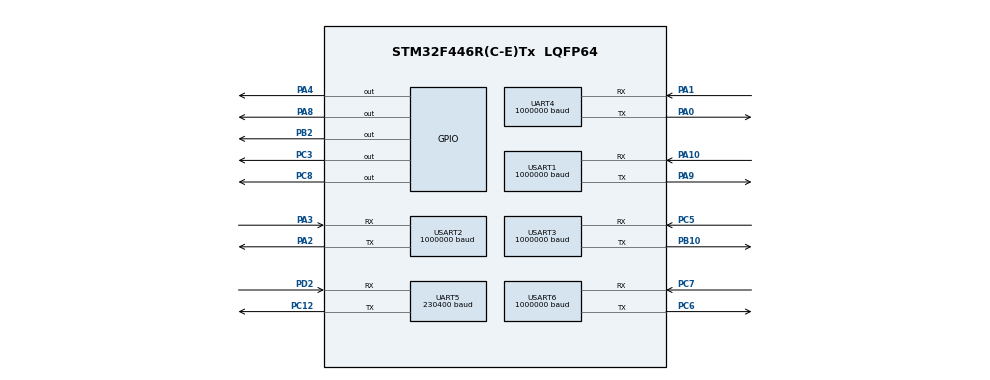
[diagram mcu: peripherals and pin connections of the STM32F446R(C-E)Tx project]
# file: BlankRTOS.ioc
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Dma.Request0=UART5_TX
Dma.Request1=UART5_RX
Dma.Request10=USART1_RX
Dma.Request11=USART1_TX
Dma.Request2=USART2_TX
Dma.Request3=USART2_RX
Dma.Request4=USART3_RX
Dma.Request5=USART3_TX
Dma.Request6=UART4_RX
Dma.Request7=UART4_TX
Dma.Request8=USART6_RX
Dma.Request9=USART6_TX
Dma.UART4_RX.6.Direction=DMA_PERIPH_TO_MEMORY
Dma.UART4_RX.6.FIFOMode=DMA_FIFOMODE_DISABLE
Dma.UART4_RX.6.Instance=DMA1_Stream2
Dma.UART4_RX.6.MemDataAlignment=DMA_MDATAALIGN_BYTE
Dma.UART4_RX.6.MemInc=DMA_MINC_ENABLE
Dma.UART4_RX.6.Mode=DMA_NORMAL
Dma.UART4_RX.6.PeriphDataAlignment=DMA_PDATAALIGN_BYTE
Dma.UART4_RX.6.PeriphInc=DMA_PINC_DISABLE
Dma.UART4_RX.6.Priority=DMA_PRIORITY_LOW
Dma.UART4_TX.7.Direction=DMA_MEMORY_TO_PERIPH
Dma.UART4_TX.7.FIFOMode=DMA_FIFOMODE_DISABLE
Dma.UART4_TX.7.Instance=DMA1_Stream4
Dma.UART4_TX.7.MemDataAlignment=DMA_MDATAALIGN_BYTE
Dma.UART4_TX.7.MemInc=DMA_MINC_ENABLE
Dma.UART4_TX.7.Mode=DMA_NORMAL
Dma.UART4_TX.7.PeriphDataAlignment=DMA_PDATAALIGN_BYTE
Dma.UART4_TX.7.PeriphInc=DMA_PINC_DISABLE
Dma.UART4_TX.7.Priority=DMA_PRIORITY_LOW
Dma.UART5_RX.1.Direction=DMA_PERIPH_TO_MEMORY
Dma.UART5_RX.1.FIFOMode=DMA_FIFOMODE_DISABLE
Dma.UART5_RX.1.Instance=DMA1_Stream0
Dma.UART5_RX.1.MemDataAlignment=DMA_MDATAALIGN_BYTE
Dma.UART5_RX.1.MemInc=DMA_MINC_ENABLE
Dma.UART5_RX.1.Mode=DMA_NORMAL
Dma.UART5_RX.1.PeriphDataAlignment=DMA_PDATAALIGN_BYTE
Dma.UART5_RX.1.PeriphInc=DMA_PINC_DISABLE
Dma.UART5_RX.1.Priority=DMA_PRIORITY_LOW
Dma.UART5_TX.0.Direction=DMA_MEMORY_TO_PERIPH
Dma.UART5_TX.0.FIFOMode=DMA_FIFOMODE_DISABLE
Dma.UART5_TX.0.Instance=DMA1_Stream7
Dma.UART5_TX.0.MemDataAlignment=DMA_MDATAALIGN_BYTE
Dma.UART5_TX.0.MemInc=DMA_MINC_ENABLE
Dma.UART5_TX.0.Mode=DMA_NORMAL
Dma.UART5_TX.0.PeriphDataAlignment=DMA_PDATAALIGN_BYTE
Dma.UART5_TX.0.PeriphInc=DMA_PINC_DISABLE
Dma.UART5_TX.0.Priority=DMA_PRIORITY_LOW
Dma.USART1_RX.10.Direction=DMA_PERIPH_TO_MEMORY
Dma.USART1_RX.10.FIFOMode=DMA_FIFOMODE_DISABLE
Dma.USART1_RX.10.Instance=DMA2_Stream2
Dma.USART1_RX.10.MemDataAlignment=DMA_MDATAALIGN_BYTE
Dma.USART1_RX.10.MemInc=DMA_MINC_ENABLE
Dma.USART1_RX.10.Mode=DMA_NORMAL
Dma.USART1_RX.10.PeriphDataAlignment=DMA_PDATAALIGN_BYTE
Dma.USART1_RX.10.PeriphInc=DMA_PINC_DISABLE
Dma.USART1_RX.10.Priority=DMA_PRIORITY_LOW
Dma.USART1_TX.11.Direction=DMA_MEMORY_TO_PERIPH
Dma.USART1_TX.11.FIFOMode=DMA_FIFOMODE_DISABLE
Dma.USART1_TX.11.Instance=DMA2_Stream7
Dma.USART1_TX.11.MemDataAlignment=DMA_MDATAALIGN_BYTE
Dma.USART1_TX.11.MemInc=DMA_MINC_ENABLE
Dma.USART1_TX.11.Mode=DMA_NORMAL
Dma.USART1_TX.11.PeriphDataAlignment=DMA_PDATAALIGN_BYTE
Dma.USART1_TX.11.PeriphInc=DMA_PINC_DISABLE
Dma.USART1_TX.11.Priority=DMA_PRIORITY_LOW
Dma.USART2_RX.3.Direction=DMA_PERIPH_TO_MEMORY
Dma.USART2_RX.3.FIFOMode=DMA_FIFOMODE_DISABLE
Dma.USART2_RX.3.Instance=DMA1_Stream5
Dma.USART2_RX.3.MemDataAlignment=DMA_MDATAALIGN_BYTE
Dma.USART2_RX.3.MemInc=DMA_MINC_ENABLE
Dma.USART2_RX.3.Mode=DMA_NORMAL
Dma.USART2_RX.3.PeriphDataAlignment=DMA_PDATAALIGN_BYTE
Dma.USART2_RX.3.PeriphInc=DMA_PINC_DISABLE
Dma.USART2_RX.3.Priority=DMA_PRIORITY_LOW
Dma.USART2_TX.2.Direction=DMA_MEMORY_TO_PERIPH
Dma.USART2_TX.2.FIFOMode=DMA_FIFOMODE_DISABLE
Dma.USART2_TX.2.Instance=DMA1_Stream6
Dma.USART2_TX.2.MemDataAlignment=DMA_MDATAALIGN_BYTE
Dma.USART2_TX.2.MemInc=DMA_MINC_ENABLE
Dma.USART2_TX.2.Mode=DMA_NORMAL
Dma.USART2_TX.2.PeriphDataAlignment=DMA_PDATAALIGN_BYTE
Dma.USART2_TX.2.PeriphInc=DMA_PINC_DISABLE
Dma.USART2_TX.2.Priority=DMA_PRIORITY_LOW
Dma.USART3_RX.4.Direction=DMA_PERIPH_TO_MEMORY
Dma.USART3_RX.4.FIFOMode=DMA_FIFOMODE_DISABLE
Dma.USART3_RX.4.Instance=DMA1_Stream1
Dma.USART3_RX.4.MemDataAlignment=DMA_MDATAALIGN_BYTE
Dma.USART3_RX.4.MemInc=DMA_MINC_ENABLE
Dma.USART3_RX.4.Mode=DMA_NORMAL
Dma.USART3_RX.4.PeriphDataAlignment=DMA_PDATAALIGN_BYTE
Dma.USART3_RX.4.PeriphInc=DMA_PINC_DISABLE
Dma.USART3_RX.4.Priority=DMA_PRIORITY_LOW
Dma.USART3_TX.5.Direction=DMA_MEMORY_TO_PERIPH
Dma.USART3_TX.5.FIFOMode=DMA_FIFOMODE_DISABLE
Dma.USART3_TX.5.Instance=DMA1_Stream3
Dma.USART3_TX.5.MemDataAlignment=DMA_MDATAALIGN_BYTE
Dma.USART3_TX.5.MemInc=DMA_MINC_ENABLE
Dma.USART3_TX.5.Mode=DMA_NORMAL
Dma.USART3_TX.5.PeriphDataAlignment=DMA_PDATAALIGN_BYTE
Dma.USART3_TX.5.PeriphInc=DMA_PINC_DISABLE
Dma.USART3_TX.5.Priority=DMA_PRIORITY_LOW
Dma.USART6_RX.8.Direction=DMA_PERIPH_TO_MEMORY
Dma.USART6_RX.8.FIFOMode=DMA_FIFOMODE_DISABLE
Dma.USART6_RX.8.Instance=DMA2_Stream1
Dma.USART6_RX.8.MemDataAlignment=DMA_MDATAALIGN_BYTE
Dma.USART6_RX.8.MemInc=DMA_MINC_ENABLE
Dma.USART6_RX.8.Mode=DMA_NORMAL
Dma.USART6_RX.8.PeriphDataAlignment=DMA_PDATAALIGN_BYTE
Dma.USART6_RX.8.PeriphInc=DMA_PINC_DISABLE
Dma.USART6_RX.8.Priority=DMA_PRIORITY_LOW
Dma.USART6_TX.9.Direction=DMA_MEMORY_TO_PERIPH
Dma.USART6_TX.9.FIFOMode=DMA_FIFOMODE_DISABLE
Dma.USART6_TX.9.Instance=DMA2_Stream6
Dma.USART6_TX.9.MemDataAlignment=DMA_MDATAALIGN_BYTE
Dma.USART6_TX.9.MemInc=DMA_MINC_ENABLE
Dma.USART6_TX.9.Mode=DMA_NORMAL
Dma.USART6_TX.9.PeriphDataAlignment=DMA_PDATAALIGN_BYTE
Dma.USART6_TX.9.PeriphInc=DMA_PINC_DISABLE
Dma.USART6_TX.9.Priority=DMA_PRIORITY_LOW
FREERTOS.MEMORY_ALLOCATION=2
FREERTOS.Queues01=UART1_req,20,UARTcmd,0,Static,UART1_reqBuffer,UART1_reqControlBlock;UART4_req,20,UARTcmd,0,Static,UART4_reqBuffer,UART4_reqControlBlock;UART6_req,20,UARTcmd,0,Static,UART6_reqBuffer,UART6_reqControlBlock
FREERTOS.Tasks01=defaultTask,-3,128,StartDefaultTask,Default,NULL,Static,defaultTaskBuffer,defaultTaskControlBlock;rx,3,128,StartRx,Default,NULL,Static,rxBuffer,rxControlBlock;tx,2,128,StartTx,Default,NULL,Static,txBuffer,txControlBlock;UART1_,0,128,StartUART1,Default,NULL,Static,UART1_Buffer,UART1_ControlBlock;UART6_,0,128,StartUART6,Default,NULL,Static,UART6_Buffer,UART6_ControlBlock;UART4_,0,128,StartUART4,Default,NULL,Static,UART4_Buffer,UART4_ControlBlock
Mcu.Family=STM32F4
Mcu.Name=STM32F446R(C-E)Tx
Mcu.Package=LQFP64
NVIC.DMA1_Stream0_IRQn=true\:5\:0\:false\:false\:true\:true\:false
NVIC.DMA1_Stream1_IRQn=true\:5\:0\:false\:false\:true\:true\:false
NVIC.DMA1_Stream2_IRQn=true\:5\:0\:false\:false\:true\:true\:false
NVIC.DMA1_Stream3_IRQn=true\:5\:0\:false\:false\:true\:true\:false
NVIC.DMA1_Stream4_IRQn=true\:5\:0\:false\:false\:true\:true\:false
NVIC.DMA1_Stream5_IRQn=true\:5\:0\:false\:false\:true\:true\:false
NVIC.DMA1_Stream6_IRQn=true\:5\:0\:false\:false\:true\:true\:false
NVIC.DMA1_Stream7_IRQn=true\:5\:0\:false\:false\:true\:true\:false
NVIC.DMA2_Stream1_IRQn=true\:5\:0\:false\:false\:true\:true\:false
NVIC.DMA2_Stream2_IRQn=true\:5\:0\:false\:false\:true\:true\:false
NVIC.DMA2_Stream6_IRQn=true\:5\:0\:false\:false\:true\:true\:false
NVIC.DMA2_Stream7_IRQn=true\:5\:0\:false\:false\:true\:true\:false
NVIC.PriorityGroup=NVIC_PRIORITYGROUP_4
NVIC.TIM1_UP_TIM10_IRQn=true\:0\:0\:false\:false\:true\:false\:false
NVIC.TimeBase=TIM1_UP_TIM10_IRQn
NVIC.TimeBaseIP=TIM1
NVIC.UART4_IRQn=true\:5\:0\:false\:false\:true\:true\:true
NVIC.UART5_IRQn=true\:5\:0\:false\:false\:true\:true\:true
NVIC.USART1_IRQn=true\:5\:0\:false\:false\:true\:true\:true
NVIC.USART2_IRQn=true\:5\:0\:false\:false\:true\:true\:true
NVIC.USART3_IRQn=true\:5\:0\:false\:false\:true\:true\:true
NVIC.USART6_IRQn=true\:5\:0\:false\:false\:true\:true\:true
PA0-WKUP.Mode=Asynchronous
PA0-WKUP.Signal=UART4_TX
PA1.Mode=Asynchronous
PA1.Signal=UART4_RX
PA10.Mode=Asynchronous
PA10.Signal=USART1_RX
PA2.Mode=Asynchronous
PA2.Signal=USART2_TX
PA3.Mode=Asynchronous
PA3.Signal=USART2_RX
PA4.GPIO_Speed=GPIO_SPEED_FREQ_VERY_HIGH
PA4.Signal=GPIO_Output
PA8.GPIO_Speed=GPIO_SPEED_FREQ_VERY_HIGH
PA8.Signal=GPIO_Output
PA9.Mode=Asynchronous
PA9.Signal=USART1_TX
PB10.Mode=Asynchronous
PB10.Signal=USART3_TX
PB2.GPIO_Speed=GPIO_SPEED_FREQ_VERY_HIGH
PB2.Signal=GPIO_Output
PC12.Mode=Asynchronous
PC12.Signal=UART5_TX
PC3.GPIO_Speed=GPIO_SPEED_FREQ_VERY_HIGH
PC3.Signal=GPIO_Output
PC5.Mode=Asynchronous
PC5.Signal=USART3_RX
PC6.Mode=Asynchronous
PC6.Signal=USART6_TX
PC7.Mode=Asynchronous
PC7.Signal=USART6_RX
PC8.GPIO_Speed=GPIO_SPEED_FREQ_VERY_HIGH
PC8.Signal=GPIO_Output
PD2.Mode=Asynchronous
PD2.Signal=UART5_RX
ProjectManager.HeapSize=0x200
ProjectManager.StackSize=0x400
ProjectManager.TargetToolchain=SW4STM32
RCC.CortexFreq_Value=16000000
RCC.USBFreq_Value=96000000
RCC.VCOOutputFreq_Value=192000000
UART4.BaudRate=1000000
UART4.VirtualMode=Asynchronous
UART5.BaudRate=230400
UART5.VirtualMode=Asynchronous
USART1.BaudRate=1000000
USART1.VirtualMode=VM_ASYNC
USART2.BaudRate=1000000
USART2.VirtualMode=VM_ASYNC
USART3.BaudRate=1000000
USART3.VirtualMode=VM_ASYNC
USART6.BaudRate=1000000
USART6.VirtualMode=VM_ASYNC
VP_FREERTOS_VS_ENABLE.Mode=Enabled
VP_SYS_VS_tim1.Mode=TIM1
board=BlankRTOS

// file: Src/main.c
/**
  ******************************************************************************
  * @file           : main.c
  * @brief          : Main program body
  ******************************************************************************
  * This notice applies to any and all portions of this file
  * that are not between comment pairs USER CODE BEGIN and
  * USER CODE END. Other portions of this file, whether
  * inserted by the user or by software development tools
  * are owned by their respective copyright owners.
  *
  * Copyright (c) 2018 STMicroelectronics International N.V.
  * All rights reserved.
  *
  * Redistribution and use in source and binary forms, with or without
  * modification, are permitted, provided that the following conditions are met:
  *
  * 1. Redistribution of source code must retain the above copyright notice,
  *    this list of conditions and the following disclaimer.
  * 2. Redistributions in binary form must reproduce the above copyright notice,
  *    this list of conditions and the following disclaimer in the documentation
  *    and/or other materials provided with the distribution.
  * 3. Neither the name of STMicroelectronics nor the names of other
  *    contributors to this software may be used to endorse or promote products
  *    derived from this software without specific written permission.
  * 4. This software, including modifications and/or derivative works of this
  *    software, must execute solely and exclusively on microcontroller or
  *    microprocessor devices manufactured by or for STMicroelectronics.
  * 5. Redistribution and use of this software other than as permitted under
  *    this license is void and will automatically terminate your rights under
  *    this license.
  *
  * THIS SOFTWARE IS PROVIDED BY STMICROELECTRONICS AND CONTRIBUTORS "AS IS"
  * AND ANY EXPRESS, IMPLIED OR STATUTORY WARRANTIES, INCLUDING, BUT NOT
  * LIMITED TO, THE IMPLIED WARRANTIES OF MERCHANTABILITY, FITNESS FOR A
  * PARTICULAR PURPOSE AND NON-INFRINGEMENT OF THIRD PARTY INTELLECTUAL PROPERTY
  * RIGHTS ARE DISCLAIMED TO THE FULLEST EXTENT PERMITTED BY LAW. IN NO EVENT
  * SHALL STMICROELECTRONICS OR CONTRIBUTORS BE LIABLE FOR ANY DIRECT, INDIRECT,
  * INCIDENTAL, SPECIAL, EXEMPLARY, OR CONSEQUENTIAL DAMAGES (INCLUDING, BUT NOT
  * LIMITED TO, PROCUREMENT OF SUBSTITUTE GOODS OR SERVICES; LOSS OF USE, DATA,
  * OR PROFITS; OR BUSINESS INTERRUPTION) HOWEVER CAUSED AND ON ANY THEORY OF
  * LIABILITY, WHETHER IN CONTRACT, STRICT LIABILITY, OR TORT (INCLUDING
  * NEGLIGENCE OR OTHERWISE) ARISING IN ANY WAY OUT OF THE USE OF THIS SOFTWARE,
  * EVEN IF ADVISED OF THE POSSIBILITY OF SUCH DAMAGE.
  *
  ******************************************************************************
  */
#include "main.h"
#include "stm32f4xx_hal.h"
#include "cmsis_os.h"
#include "dma.h"
#include "usart.h"
#include "gpio.h"

/* USER CODE BEGIN Includes */
#include "../Drivers/Dynamixel/DynamixelProtocolV1.h"
/* USER CODE END Includes */

/* USER CODE BEGIN PV */
/* Private variables ---------------------------------------------------------*/

/* USER CODE END PV */

void SystemClock_Config(void);
void MX_FREERTOS_Init(void);

/* USER CODE BEGIN PFP */
/* Private function prototypes -----------------------------------------------*/
void flinch(Dynamixel_HandleTypeDef* Motor, float pos1, float pos2);
/* USER CODE END PFP */

int main(void)
{

  /* MCU Configuration----------------------------------------------------------*/

  /* Reset of all peripherals, Initializes the Flash interface and the Systick. */
  HAL_Init();

  /* Configure the system clock */
  SystemClock_Config();

  /* Initialize all configured peripherals */
  MX_GPIO_Init();
  MX_DMA_Init();
  MX_UART5_Init();
  MX_USART2_UART_Init();
  MX_UART4_Init();
  MX_USART1_UART_Init();
  MX_USART3_UART_Init();
  MX_USART6_UART_Init();
  /* USER CODE BEGIN 2 */

/* ASCII CIRCUIT     _
 *  o   ------     3|_|D     LU
 *           ___             LD
 *   ||     |mcu|   o  ||    HH
 * ____     |___|      ||    RU
 *   o  ===   ===   ===      RD
 */
  Dynamixel_HandleTypeDef Motor;
//
//  // LU - UART1
//  Dynamixel_Init(&Motor, BROADCAST_ID, &huart1, GPIOA, GPIO_PIN_8, AX12ATYPE);
//  //Dynamixel_SetID(&Motor, 4);
//  HAL_Delay(100);
//  flinch(&Motor);
//
//  // LD - UART6
//  Dynamixel_Init(&Motor, BROADCAST_ID, &huart6, GPIOC, GPIO_PIN_8, AX12ATYPE);
//  //Dynamixel_SetID(&Motor, 1);
//  flinch(&Motor);
//
//  // HH - USART3
//  Dynamixel_Init(&Motor, BROADCAST_ID, &huart3, GPIOB, GPIO_PIN_2, AX12ATYPE);
//  //Dynamixel_SetID(&Motor, 18);
//  flinch(&Motor);
//
//  // RU - UART4
//  Dynamixel_Init(&Motor, BROADCAST_ID, &huart4, GPIOC, GPIO_PIN_3, MX28TYPE);
//  //Dynamixel_SetID(&Motor, 7);
//  Dynamixel_TorqueEnable(&Motor, 1);
//  flinch(&Motor);
//
//  // RD - UART2
//  Dynamixel_Init(&Motor, BROADCAST_ID, &huart2, GPIOA, GPIO_PIN_4, AX12ATYPE);
//  //Dynamixel_SetID(&Motor, 10);
//  flinch(&Motor);

  	// Call this with the appropriate arguments above, depending on which UART
    // the motor is connected to
    Dynamixel_Init(&Motor, BROADCAST_ID, &huart2, GPIOA, GPIO_PIN_4, MX28TYPE);
    uint8_t ID = 7;
    //Dynamixel_SetID(&Motor, 10); // Uncomment this if you have not set the ID
    Dynamixel_Init(&Motor, ID, &huart2, GPIOA, GPIO_PIN_4, MX28TYPE);

    uint8_t DGain = 2;
    uint8_t IGain = 2;
    uint8_t PGain = 2;
    MX28_SetDGain(&Motor, DGain);
    MX28_SetIGain(&Motor, DGain);
    MX28_SetPGain(&Motor, DGain);

    // Flinch moves the motors between 2 positions
    float pos1 = 150.0;
    float pos2 = 220.0;
    flinch(&Motor, pos1, pos2);
//  while(1);
  /* USER CODE END 2 */

  /* Call init function for freertos objects (in freertos.c) */
  MX_FREERTOS_Init();

  /* Start scheduler */
  osKernelStart();

  /* We should never get here as control is now taken by the scheduler */

  /* Infinite loop */
	while (1) {

	}

}

void SystemClock_Config(void)
{

  RCC_OscInitTypeDef RCC_OscInitStruct;
  RCC_ClkInitTypeDef RCC_ClkInitStruct;

    /**Configure the main internal regulator output voltage
    */
  __HAL_RCC_PWR_CLK_ENABLE();

  __HAL_PWR_VOLTAGESCALING_CONFIG(PWR_REGULATOR_VOLTAGE_SCALE3);

    /**Initializes the CPU, AHB and APB busses clocks
    */
  RCC_OscInitStruct.OscillatorType = RCC_OSCILLATORTYPE_HSI;
  RCC_OscInitStruct.HSIState = RCC_HSI_ON;
  RCC_OscInitStruct.HSICalibrationValue = 16;
  RCC_OscInitStruct.PLL.PLLState = RCC_PLL_NONE;
  if (HAL_RCC_OscConfig(&RCC_OscInitStruct) != HAL_OK)
  {
    _Error_Handler(__FILE__, __LINE__);
  }

    /**Initializes the CPU, AHB and APB busses clocks
    */
  RCC_ClkInitStruct.ClockType = RCC_CLOCKTYPE_HCLK|RCC_CLOCKTYPE_SYSCLK
                              |RCC_CLOCKTYPE_PCLK1|RCC_CLOCKTYPE_PCLK2;
  RCC_ClkInitStruct.SYSCLKSource = RCC_SYSCLKSOURCE_HSI;
  RCC_ClkInitStruct.AHBCLKDivider = RCC_SYSCLK_DIV1;
  RCC_ClkInitStruct.APB1CLKDivider = RCC_HCLK_DIV1;
  RCC_ClkInitStruct.APB2CLKDivider = RCC_HCLK_DIV1;

  if (HAL_RCC_ClockConfig(&RCC_ClkInitStruct, FLASH_LATENCY_0) != HAL_OK)
  {
    _Error_Handler(__FILE__, __LINE__);
  }

    /**Configure the Systick interrupt time
    */
  HAL_SYSTICK_Config(HAL_RCC_GetHCLKFreq()/1000);

    /**Configure the Systick
    */
  HAL_SYSTICK_CLKSourceConfig(SYSTICK_CLKSOURCE_HCLK);

  /* SysTick_IRQn interrupt configuration */
  HAL_NVIC_SetPriority(SysTick_IRQn, 15, 0);
}

/* USER CODE BEGIN 4 */
void flinch(Dynamixel_HandleTypeDef* Motor, float pos1, float pos2){
	  HAL_Delay(100);
	  Dynamixel_SetGoalPosition(Motor, pos1);
	  HAL_Delay(500);
	  Dynamixel_SetGoalPosition(Motor, pos2);
	  HAL_Delay(1000);
}
/* USER CODE END 4 */

void HAL_TIM_PeriodElapsedCallback(TIM_HandleTypeDef *htim)
{
  if (htim->Instance == TIM1) {
    HAL_IncTick();
  }
}

void _Error_Handler(char *file, int line)
{
	while (1) {
	}
}

/************************ (C) COPYRIGHT STMicroelectronics *****END OF FILE****/

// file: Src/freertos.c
/**
  ******************************************************************************
  * File Name          : freertos.c
  * Description        : Code for freertos applications
  ******************************************************************************
  * This notice applies to any and all portions of this file
  * that are not between comment pairs USER CODE BEGIN and
  * USER CODE END. Other portions of this file, whether
  * inserted by the user or by software development tools
  * are owned by their respective copyright owners.
  *
  * Copyright (c) 2018 STMicroelectronics International N.V.
  * All rights reserved.
  *
  * Redistribution and use in source and binary forms, with or without
  * modification, are permitted, provided that the following conditions are met:
  *
  * 1. Redistribution of source code must retain the above copyright notice,
  *    this list of conditions and the following disclaimer.
  * 2. Redistributions in binary form must reproduce the above copyright notice,
  *    this list of conditions and the following disclaimer in the documentation
  *    and/or other materials provided with the distribution.
  * 3. Neither the name of STMicroelectronics nor the names of other
  *    contributors to this software may be used to endorse or promote products
  *    derived from this software without specific written permission.
  * 4. This software, including modifications and/or derivative works of this
  *    software, must execute solely and exclusively on microcontroller or
  *    microprocessor devices manufactured by or for STMicroelectronics.
  * 5. Redistribution and use of this software other than as permitted under
  *    this license is void and will automatically terminate your rights under
  *    this license.
  *
  * THIS SOFTWARE IS PROVIDED BY STMICROELECTRONICS AND CONTRIBUTORS "AS IS"
  * AND ANY EXPRESS, IMPLIED OR STATUTORY WARRANTIES, INCLUDING, BUT NOT
  * LIMITED TO, THE IMPLIED WARRANTIES OF MERCHANTABILITY, FITNESS FOR A
  * PARTICULAR PURPOSE AND NON-INFRINGEMENT OF THIRD PARTY INTELLECTUAL PROPERTY
  * RIGHTS ARE DISCLAIMED TO THE FULLEST EXTENT PERMITTED BY LAW. IN NO EVENT
  * SHALL STMICROELECTRONICS OR CONTRIBUTORS BE LIABLE FOR ANY DIRECT, INDIRECT,
  * INCIDENTAL, SPECIAL, EXEMPLARY, OR CONSEQUENTIAL DAMAGES (INCLUDING, BUT NOT
  * LIMITED TO, PROCUREMENT OF SUBSTITUTE GOODS OR SERVICES; LOSS OF USE, DATA,
  * OR PROFITS; OR BUSINESS INTERRUPTION) HOWEVER CAUSED AND ON ANY THEORY OF
  * LIABILITY, WHETHER IN CONTRACT, STRICT LIABILITY, OR TORT (INCLUDING
  * NEGLIGENCE OR OTHERWISE) ARISING IN ANY WAY OUT OF THE USE OF THIS SOFTWARE,
  * EVEN IF ADVISED OF THE POSSIBILITY OF SUCH DAMAGE.
  *
  ******************************************************************************
  */

#include "FreeRTOS.h"
#include "task.h"
#include "cmsis_os.h"

/* USER CODE BEGIN Includes */
#include <robotGoal.h>
#include <robotState.h>
#include <stdint.h>
#include "serial.h"
#include "string.h"
#include "UART_Handler.h"
#include "../Drivers/Dynamixel/DynamixelProtocolV1.h"
/* USER CODE END Includes */

osThreadId defaultTaskHandle;
uint32_t defaultTaskBuffer[ 128 ];
osStaticThreadDef_t defaultTaskControlBlock;
osThreadId rxHandle;
uint32_t rxBuffer[ 128 ];
osStaticThreadDef_t rxControlBlock;
osThreadId txHandle;
uint32_t txBuffer[ 128 ];
osStaticThreadDef_t txControlBlock;
osThreadId UART1_Handle;
uint32_t UART1_Buffer[ 128 ];
osStaticThreadDef_t UART1_ControlBlock;
osThreadId UART6_Handle;
uint32_t UART6_Buffer[ 128 ];
osStaticThreadDef_t UART6_ControlBlock;
osThreadId UART4_Handle;
uint32_t UART4_Buffer[ 128 ];
osStaticThreadDef_t UART4_ControlBlock;
osMessageQId UART1_reqHandle;
uint8_t UART1_reqBuffer[ 20 * sizeof( UARTcmd ) ];
osStaticMessageQDef_t UART1_reqControlBlock;
osMessageQId UART4_reqHandle;
uint8_t UART4_reqBuffer[ 20 * sizeof( UARTcmd ) ];
osStaticMessageQDef_t UART4_reqControlBlock;
osMessageQId UART6_reqHandle;
uint8_t UART6_reqBuffer[ 20 * sizeof( UARTcmd ) ];
osStaticMessageQDef_t UART6_reqControlBlock;

/* USER CODE BEGIN Variables */
volatile RobotGoal robotGoal, *robotGoalPtr;
volatile unsigned char robotGoalData[sizeof(RobotGoal)];
volatile unsigned char *robotGoalDataPtr;

volatile unsigned startSeqCount;
volatile unsigned totalBytesRead;

volatile RobotState robotState, *robotStatePtr;

#define __DYNAMIXEL_TRANSMIT(port, pinNum) HAL_GPIO_WritePin(port, pinNum, 1) // Set data direction pin high (TX)
#define __DYNAMIXEL_RECEIVE(port, pinNum) HAL_GPIO_WritePin(port, pinNum, 0) // Set data direction pin low (RX)

volatile uint8_t buffRx[92];

enum motorNames {MOTOR1, MOTOR2, MOTOR3, MOTOR4, MOTOR5,
				 MOTOR6, MOTOR7, MOTOR8, MOTOR9, MOTOR10,
				 MOTOR11, MOTOR12, MOTOR13, MOTOR14, MOTOR15,
				 MOTOR16, MOTOR17, MOTOR18
};

Dynamixel_HandleTypeDef Motor1,Motor2,Motor3,Motor4,Motor5,Motor6,Motor7,Motor8,Motor9,Motor10,Motor11,Motor12,Motor13,Motor14,Motor15,Motor16,Motor17,Motor18;
const double PI = 3.141592654;
volatile UARTcmd Motorcmd[18];
/* USER CODE END Variables */

void StartDefaultTask(void const * argument);
void StartRx(void const * argument);
void StartTx(void const * argument);
void StartUART1(void const * argument);
void StartUART6(void const * argument);
void StartUART4(void const * argument);

void MX_FREERTOS_Init(void); /* (MISRA C 2004 rule 8.1) */

/* GetIdleTaskMemory prototype (linked to static allocation support) */
void vApplicationGetIdleTaskMemory( StaticTask_t **ppxIdleTaskTCBBuffer, StackType_t **ppxIdleTaskStackBuffer, uint32_t *pulIdleTaskStackSize );

/* Hook prototypes */

/* USER CODE BEGIN GET_IDLE_TASK_MEMORY */
static StaticTask_t xIdleTaskTCBBuffer;
static StackType_t xIdleStack[configMINIMAL_STACK_SIZE];

void vApplicationGetIdleTaskMemory( StaticTask_t **ppxIdleTaskTCBBuffer, StackType_t **ppxIdleTaskStackBuffer, uint32_t *pulIdleTaskStackSize )
{
  *ppxIdleTaskTCBBuffer = &xIdleTaskTCBBuffer;
  *ppxIdleTaskStackBuffer = &xIdleStack[0];
  *pulIdleTaskStackSize = configMINIMAL_STACK_SIZE;
  /* place for user code */
}
/* USER CODE END GET_IDLE_TASK_MEMORY */

/* Init FreeRTOS */

void MX_FREERTOS_Init(void) {
  /* USER CODE BEGIN Init */
  	__DYNAMIXEL_RECEIVE(GPIOA, GPIO_PIN_4);

	// Receiving
	robotGoal.id = 0;
	robotGoalPtr = &robotGoal;
	robotGoalDataPtr = robotGoalData;
	startSeqCount = 0;
	totalBytesRead = 0;

	// Sending
	robotState.id = 0;
	robotStatePtr = &robotState;
	robotState.start_seq = UINT32_MAX;
	robotState.end_seq = 0;
  /* USER CODE END Init */

  /* Create the thread(s) */
  /* definition and creation of defaultTask */
  osThreadStaticDef(defaultTask, StartDefaultTask, osPriorityIdle, 0, 128, defaultTaskBuffer, &defaultTaskControlBlock);
  defaultTaskHandle = osThreadCreate(osThread(defaultTask), NULL);

  /* definition and creation of rx */
  osThreadStaticDef(rx, StartRx, osPriorityRealtime, 0, 128, rxBuffer, &rxControlBlock);
  rxHandle = osThreadCreate(osThread(rx), NULL);

  /* definition and creation of tx */
  osThreadStaticDef(tx, StartTx, osPriorityHigh, 0, 128, txBuffer, &txControlBlock);
  txHandle = osThreadCreate(osThread(tx), NULL);

  /* definition and creation of UART1_ */
  osThreadStaticDef(UART1_, StartUART1, osPriorityNormal, 0, 128, UART1_Buffer, &UART1_ControlBlock);
  UART1_Handle = osThreadCreate(osThread(UART1_), NULL);

  /* definition and creation of UART6_ */
  osThreadStaticDef(UART6_, StartUART6, osPriorityNormal, 0, 128, UART6_Buffer, &UART6_ControlBlock);
  UART6_Handle = osThreadCreate(osThread(UART6_), NULL);

  /* definition and creation of UART4_ */
  osThreadStaticDef(UART4_, StartUART4, osPriorityNormal, 0, 128, UART4_Buffer, &UART4_ControlBlock);
  UART4_Handle = osThreadCreate(osThread(UART4_), NULL);

  /* Create the queue(s) */
  /* definition and creation of UART1_req */
  osMessageQStaticDef(UART1_req, 20, UARTcmd, UART1_reqBuffer, &UART1_reqControlBlock);
  UART1_reqHandle = osMessageCreate(osMessageQ(UART1_req), NULL);

  /* definition and creation of UART4_req */
  osMessageQStaticDef(UART4_req, 20, UARTcmd, UART4_reqBuffer, &UART4_reqControlBlock);
  UART4_reqHandle = osMessageCreate(osMessageQ(UART4_req), NULL);

  /* definition and creation of UART6_req */
  osMessageQStaticDef(UART6_req, 20, UARTcmd, UART6_reqBuffer, &UART6_reqControlBlock);
  UART6_reqHandle = osMessageCreate(osMessageQ(UART6_req), NULL);

}

/* StartDefaultTask function */
void StartDefaultTask(void const * argument)
{

  /* USER CODE BEGIN StartDefaultTask */
	Dynamixel_Init(&Motor1, 1, &huart6, GPIOC, GPIO_PIN_8, AX12ATYPE);
	Dynamixel_Init(&Motor2, 2, &huart6, GPIOC, GPIO_PIN_8, AX12ATYPE);
	Dynamixel_Init(&Motor3, 3, &huart6, GPIOC, GPIO_PIN_8, AX12ATYPE);
	Dynamixel_Init(&Motor4, 4, &huart1, GPIOA, GPIO_PIN_8, AX12ATYPE);
	Dynamixel_Init(&Motor5, 5, &huart1, GPIOA, GPIO_PIN_8, AX12ATYPE);
	Dynamixel_Init(&Motor6, 6, &huart1, GPIOA, GPIO_PIN_8, AX12ATYPE);
	Dynamixel_Init(&Motor7, 7, &huart4, GPIOC, GPIO_PIN_3, MX28TYPE);
	Dynamixel_Init(&Motor8, 8, &huart4, GPIOC, GPIO_PIN_3, AX12ATYPE);
	Dynamixel_Init(&Motor9, 9, &huart4, GPIOC, GPIO_PIN_3, AX12ATYPE);
	Dynamixel_Init(&Motor10, 10, &huart2, GPIOA, GPIO_PIN_4, AX12ATYPE);
	Dynamixel_Init(&Motor11, 11, &huart2, GPIOA, GPIO_PIN_4, AX12ATYPE);
	Dynamixel_Init(&Motor12, 12, &huart2, GPIOA, GPIO_PIN_4, AX12ATYPE);
	Dynamixel_Init(&Motor13, 13, &huart3, GPIOB, GPIO_PIN_2, AX12ATYPE);
	Dynamixel_Init(&Motor14, 14, &huart3, GPIOB, GPIO_PIN_2, AX12ATYPE);
	Dynamixel_Init(&Motor15, 15, &huart3, GPIOB, GPIO_PIN_2, AX12ATYPE);
	Dynamixel_Init(&Motor16, 16, &huart3, GPIOB, GPIO_PIN_2, AX12ATYPE);
	Dynamixel_Init(&Motor17, 17, &huart3, GPIOB, GPIO_PIN_2, AX12ATYPE);
	Dynamixel_Init(&Motor18, 18, &huart3, GPIOB, GPIO_PIN_2, AX12ATYPE);

	Dynamixel_HandleTypeDef* arrDynamixel[18] = {&Motor1,&Motor2,&Motor3,&Motor4,
			&Motor5,&Motor6,&Motor7,&Motor8,&Motor9,&Motor10,&Motor11,&Motor12,
			&Motor13,&Motor14,&Motor15,&Motor16,&Motor17,&Motor18};

	for(uint8_t i = MOTOR1; i < MOTOR18; i++) {
        // Configure motor to return status packets only for read commands
        Dynamixel_SetStatusReturnLevel(arrDynamixel[i], 1);
        osDelay(10);

        // Configure motor to return status packets with minimal latency
        Dynamixel_SetReturnDelayTime(arrDynamixel[i], 2);
        osDelay(10);

        // Enable motor torque
        Dynamixel_TorqueEnable(arrDynamixel[i], 1);
        osDelay(10);

        // Set compliance slope such that it has torque setting 7 near the goal position
		AX12A_SetComplianceSlope(arrDynamixel[i], 7);
		osDelay(10);

		(Motorcmd[i]).motorHandle = arrDynamixel[i];
		(Motorcmd[i]).type = cmdWRITE;
		(Motorcmd[i]).velocity = 10;
	}

	(Motorcmd[0]).qHandle = UART6_reqHandle;
	(Motorcmd[1]).qHandle = UART6_reqHandle;
	(Motorcmd[2]).qHandle = UART6_reqHandle;
	(Motorcmd[3]).qHandle = UART1_reqHandle;
	(Motorcmd[4]).qHandle = UART1_reqHandle;
	(Motorcmd[5]).qHandle = UART1_reqHandle;
	(Motorcmd[6]).qHandle = UART4_reqHandle;
	(Motorcmd[7]).qHandle = UART4_reqHandle;
	(Motorcmd[8]).qHandle = UART4_reqHandle;
//	(Motorcmd[9]).qHandle = UART2_reqHandle;
//	(Motorcmd[10]).qHandle = UART2_reqHandle;
//	(Motorcmd[11]).qHandle = UART2_reqHandle;
//	(Motorcmd[12]).qHandle = UART3_reqHandle;
//	(Motorcmd[13]).qHandle = UART3_reqHandle;
//	(Motorcmd[14]).qHandle = UART3_reqHandle;
//	(Motorcmd[15]).qHandle = UART3_reqHandle;
//	(Motorcmd[16]).qHandle = UART3_reqHandle;
//	(Motorcmd[17]).qHandle = UART3_reqHandle;

  uint32_t notification = 0;
  /* Infinite loop */
  float positions[12];
  for(;;)
  {
	  // This simulates waiting on new trajectories to be received
      do{
          xTaskNotifyWait(0, 0x40, &notification, portMAX_DELAY);
      }while((notification & 0x40) != 0x40);

      // acquiring new present positions
		for(uint8_t i = 0; i < 12; i++){
			uint8_t* ptr = &positions[i];
			for(uint8_t j = 0; j < 4; j++){
				*ptr = robotGoal.msg[i * 4 + j];
				ptr++;
			}
		}

		for(uint8_t i = MOTOR1; i <= MOTOR12; i++){ // NB: i begins at 0 (i.e. Motor1 corresponds to i = 0)
			switch(i){
			    case MOTOR1: (Motorcmd[i]).position = -1*positions[i]*180/PI + 150 - 1;
			  				 break;
			    case MOTOR2: (Motorcmd[i]).position = -1*positions[i]*180/PI + 150 + 3 + 55;
			  				 break;
			    case MOTOR3: (Motorcmd[i]).position = -1*positions[i]*180/PI + 150 + 1;
			  				 break;
			    case MOTOR4: (Motorcmd[i]).position = positions[i]*180/PI + 150 + 2;
			  				 break;
			    case MOTOR5: (Motorcmd[i]).position = positions[i]*180/PI + 150 - 0;
			  				 break;
			    case MOTOR6: (Motorcmd[i]).position = -1*positions[i]*180/PI + 150 + 0;
			  				 break;
			    case MOTOR7: (Motorcmd[i]).position = positions[i]*180/PI + 150 + 0;
			  				 break;
			    case MOTOR8: (Motorcmd[i]).position = positions[i]*180/PI + 150 - 3;
			  				 break;
			    case MOTOR9: (Motorcmd[i]).position = -1*positions[i]*180/PI + 150 - 0;
			  				 break;
			    case MOTOR10: (Motorcmd[i]).position = positions[i]*180/PI + 150 + 4;
			  				 break;
			    case MOTOR11: (Motorcmd[i]).position = positions[i]*180/PI + 150 + 1;
			  				 break;
			    case MOTOR12: (Motorcmd[i]).position = -1*positions[i]*180/PI + 150 + 3;
							 break;
            }
			if(i == MOTOR1 || i == MOTOR4 || i == MOTOR7){
				xQueueSend(Motorcmd[i].qHandle, &Motorcmd[i], 0);
			}
        }
//		Dynamixel_GetPosition(&Motor9);
//		for(uint8_t i = MOTOR1; i < MOTOR12; i++){
//			strcpy(&robotState.msg[i * 4], &(arrDynamixel[i]->_lastPosition));
//		}

		// This simulates getting positions
	    memcpy(robotState.msg, robotGoal.msg, sizeof(robotGoal.msg));

	  // This simulates telling the TX task there is data to send
	  xTaskNotify(txHandle, 0x40, eSetBits);
  }
  /* USER CODE END StartDefaultTask */
}

/* StartRx function */
void StartRx(void const * argument)
{
  /* USER CODE BEGIN StartRx */
	uint32_t notification;

	HAL_UART_Receive_DMA(&huart5, buffRx, sizeof(buffRx));
  /* Infinite loop */
  for(;;)
  {
		do{
			xTaskNotifyWait(0, 0x80, &notification, portMAX_DELAY);
		}while((notification & 0x80) != 0x80);

		HAL_UART_Receive_DMA(&huart5, buffRx, sizeof(buffRx));

		for (uint8_t i = 0; i < sizeof(buffRx); i++) {
			if (startSeqCount == 4) {
				*robotGoalDataPtr = buffRx[i];
				robotGoalDataPtr++;
				totalBytesRead++;

				if (totalBytesRead == sizeof(RobotGoal)) {

					// Process RobotGoal here
					memcpy(&robotGoal, robotGoalData, sizeof(RobotGoal));

					robotGoalDataPtr = robotGoalData;
					startSeqCount = 0;
					totalBytesRead = 0;

					xTaskNotify(defaultTaskHandle, 0x40, eSetBits);
					continue;
				}
			} else {
				if (buffRx[i] == 255)
					startSeqCount++;
				else
					startSeqCount = 0;
			}
		}
  }
  /* USER CODE END StartRx */
}

/* StartTx function */
void StartTx(void const * argument)
{
  /* USER CODE BEGIN StartTx */

	uint32_t notification;
  /* Infinite loop */
  for(;;)
  {
	do{
		xTaskNotifyWait(0, 0x40, &notification, portMAX_DELAY);
	}while((notification & 0x40) != 0x40);

	HAL_UART_Transmit_DMA(&huart5, (uint8_t*)&robotState, sizeof(RobotState));
	do{
		xTaskNotifyWait(0, 0x80, &notification, portMAX_DELAY);
	}while((notification & 0x80) != 0x80);
  }
  /* USER CODE END StartTx */
}

/* StartUART1 function */
void StartUART1(void const * argument)
{
  /* USER CODE BEGIN StartUART1 */
  UARTcmd cmdMessage;
  uint32_t notification;

  /* Infinite loop */
  for(;;)
  {
	  while(xQueueReceive(UART1_reqHandle, &(cmdMessage), portMAX_DELAY) != pdTRUE);
	  if(cmdMessage.type == cmdWRITE){
		  Dynamixel_SetGoalPosition(cmdMessage.motorHandle, cmdMessage.position);
		  do{
			  xTaskNotifyWait(0, 0x80, &notification, portMAX_DELAY);
		  }while((notification & 0x80) != 0x80);
	  }
  }
  /* USER CODE END StartUART1 */
}

/* StartUART6 function */
void StartUART6(void const * argument)
{
  /* USER CODE BEGIN StartUART6 */
  UARTcmd cmdMessage;
  uint32_t notification;

  /* Infinite loop */
  for(;;)
  {
	  while(xQueueReceive(UART6_reqHandle, &(cmdMessage), portMAX_DELAY) != pdTRUE);
	  if(cmdMessage.type == cmdWRITE){
		  Dynamixel_SetGoalPosition(cmdMessage.motorHandle, cmdMessage.position);
		  do{
			  xTaskNotifyWait(0, 0x80, &notification, portMAX_DELAY);
		  }while((notification & 0x80) != 0x80);
	  }
  }
  /* USER CODE END StartUART6 */
}

/* StartUART4 function */
void StartUART4(void const * argument)
{
  /* USER CODE BEGIN StartUART4 */
  UARTcmd cmdMessage;
  uint32_t notification;

  /* Infinite loop */
  for(;;)
  {
	  while(xQueueReceive(UART4_reqHandle, &(cmdMessage), portMAX_DELAY) != pdTRUE);
	  if(cmdMessage.type == cmdWRITE){
		  Dynamixel_SetGoalPosition(cmdMessage.motorHandle, cmdMessage.position);
		  do{
			  xTaskNotifyWait(0, 0x80, &notification, portMAX_DELAY);
		  }while((notification & 0x80) != 0x80);
	  }
  }
  /* USER CODE END StartUART4 */
}

/* USER CODE BEGIN Application */
void HAL_UART_RxCpltCallback(UART_HandleTypeDef * huart) {
	BaseType_t xHigherPriorityTaskWoken = pdFALSE;
	if (huart == &huart5) {
		xTaskNotifyFromISR(rxHandle, 0x80, eSetBits, &xHigherPriorityTaskWoken);
	}
	portYIELD_FROM_ISR( xHigherPriorityTaskWoken );
}

void HAL_UART_TxCpltCallback(UART_HandleTypeDef * huart){
	BaseType_t xHigherPriorityTaskWoken = pdFALSE;
	if(huart == &huart1){
//		xTaskNotifyFromISR(UART1_Handle, 0x80, eSetBits, &xHigherPriorityTaskWoken);
	}
	if(huart == &huart2){
//		xTaskNotifyFromISR(defaultTaskHandle, 0x80, eSetBits, &xHigherPriorityTaskWoken);
	}
	if(huart == &huart3){
//		xTaskNotifyFromISR(defaultTaskHandle, 0x80, eSetBits, &xHigherPriorityTaskWoken);
	}
	if(huart == &huart4){
//		xTaskNotifyFromISR(UART4_Handle, 0x80, eSetBits, &xHigherPriorityTaskWoken);
	}
	if (huart == &huart5) {
//		xTaskNotifyFromISR(txHandle, 0x80, eSetBits, &xHigherPriorityTaskWoken);
	}
	if(huart == &huart6){
//		xTaskNotifyFromISR(UART6_Handle, 0x80, eSetBits, &xHigherPriorityTaskWoken);
	}
//	portYIELD_FROM_ISR( xHigherPriorityTaskWoken );
}
/* USER CODE END Application */

/************************ (C) COPYRIGHT STMicroelectronics *****END OF FILE****/
